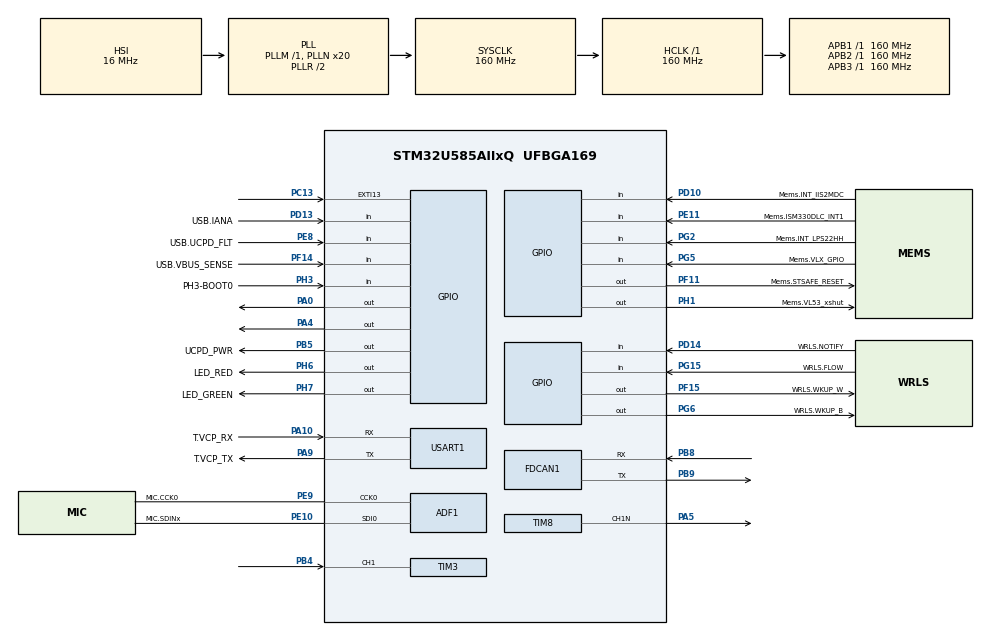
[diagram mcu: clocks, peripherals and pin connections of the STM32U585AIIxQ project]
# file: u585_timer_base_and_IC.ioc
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CORTEX_M33_NS.userName=CORTEX_M33
FDCAN1.CalculateBaudRateNominal=125000
FDCAN1.CalculateTimeBitNominal=8000
FDCAN1.CalculateTimeQuantumNominal=500.0
FDCAN1.DataPrescaler=4
FDCAN1.DataTimeSeg1=15
FDCAN1.DataTimeSeg2=4
FDCAN1.Mode=FDCAN_MODE_NORMAL
FDCAN1.NominalPrescaler=80
FDCAN1.NominalSyncJumpWidth=1
FDCAN1.NominalTimeSeg1=13
FDCAN1.NominalTimeSeg2=2
Mcu.Family=STM32U5
Mcu.Name=STM32U585AIIxQ
Mcu.Package=UFBGA169
NVIC.EXTI13_IRQn=true\:0\:0\:false\:false\:true\:true\:true\:true
NVIC.FDCAN1_IT0_IRQn=true\:0\:0\:false\:false\:true\:true\:true\:true
NVIC.FDCAN1_IT1_IRQn=true\:0\:0\:false\:false\:true\:true\:true\:true
NVIC.PriorityGroup=NVIC_PRIORITYGROUP_4
NVIC.TIM2_IRQn=true\:0\:0\:false\:false\:true\:true\:true\:true
NVIC.TIM3_IRQn=true\:0\:0\:false\:false\:true\:true\:true\:true
NVIC.TIM6_IRQn=true\:0\:0\:false\:false\:true\:true\:true\:true
PA0.Signal=GPIO_Output
PA10.GPIO_Label=T.VCP_RX
PA10.Mode=Asynchronous
PA10.Signal=USART1_RX
PA11.GPIO_Label=USB.C_P
PA11.Signal=USB_OTG_FS_DM
PA12.GPIO_Label=USB.C_P
PA12.Signal=USB_OTG_FS_DP
PA13\ (JTMS/SWDIO).GPIO_Label=T.SWDIO
PA13\ (JTMS/SWDIO).Mode=Trace_Asynchronous_SW
PA13\ (JTMS/SWDIO).Signal=DEBUG_JTMS-SWDIO
PA14\ (JTCK/SWCLK).GPIO_Label=T.SWCLK
PA14\ (JTCK/SWCLK).Mode=Trace_Asynchronous_SW
PA14\ (JTCK/SWCLK).Signal=DEBUG_JTCK-SWCLK
PA15\ (JTDI).GPIO_Label=USB.UCPD_CC1
PA15\ (JTDI).Signal=UCPD1_CC1
PA4.Signal=GPIO_Output
PA5.Mode=PWM Generation1 CH1N
PA5.Signal=TIM8_CH1N
PA9.GPIO_Label=T.VCP_TX
PA9.Mode=Asynchronous
PA9.Signal=USART1_TX
PB1.GPIO_Label=MIC.SDIN0
PB1.Signal=MDF1_SDI0
PB10.GPIO_Label=OCTOSPI.R_CLK_P
PB10.Signal=OCTOSPIM_P1_CLK
PB11.GPIO_Label=OCTOSPI.R_NCS
PB11.Signal=OCTOSPIM_P1_NCS
PB12.GPIO_Label=WRLS.SPI2_NSS
PB12.Signal=SPI2_NSS
PB15.GPIO_Label=USB.UCPD_CC2
PB15.Signal=UCPD1_CC2
PB3\ (JTDO/TRACESWO).GPIO_Label=T.SWO
PB3\ (JTDO/TRACESWO).Mode=Trace_Asynchronous_SW
PB3\ (JTDO/TRACESWO).Signal=DEBUG_JTDO-SWO
PB4\ (NJTRST).Signal=S_TIM3_CH1
PB5.GPIO_Label=UCPD_PWR
PB5.Signal=GPIO_Output
PB8.Mode=FDCAN_Activate
PB8.Signal=FDCAN1_RX
PB9.Mode=FDCAN_Activate
PB9.Signal=FDCAN1_TX
PC10.GPIO_Label=WRLS.UART4_TX
PC10.Signal=UART4_TX
PC11.GPIO_Label=WRLS.UART4_RX
PC11.Signal=UART4_RX
PC13.GPIO_ModeDefaultEXTI=GPIO_MODE_IT_FALLING
PC13.Signal=GPXTI13
PC14-OSC32_IN\ (PC14).GPIO_Label=PC14-OSC32_IN
PC14-OSC32_IN\ (PC14).Mode=LSE-External-Oscillator
PC14-OSC32_IN\ (PC14).Signal=RCC_OSC32_IN
PC15-OSC32_OUT\ (PC15).GPIO_Label=PC15-OSC32_OUT
PC15-OSC32_OUT\ (PC15).Mode=LSE-External-Oscillator
PC15-OSC32_OUT\ (PC15).Signal=RCC_OSC32_OUT
PC3.GPIO_Label=OCTOSPI.R_IO6
PC3.Signal=OCTOSPIM_P1_IO6
PD1.GPIO_Label=WRLS.SPI2_SCK
PD1.Signal=SPI2_SCK
PD10.GPIO_Label=Mems.INT_IIS2MDC
PD10.Signal=GPIO_Input
PD13.GPIO_Label=USB.IANA
PD13.Signal=GPIO_Input
PD14.GPIO_Label=WRLS.NOTIFY
PD14.Signal=GPIO_Input
PD3.GPIO_Label=WRLS.SPI2_MISO
PD3.Signal=SPI2_MISO
PD4.GPIO_Label=WRLS.SPI2_MOSI
PD4.Signal=SPI2_MOSI
PD7.GPIO_Label=OCTOSPI.R_IO7
PD7.Signal=OCTOSPIM_P1_IO7
PE10.GPIO_Label=MIC.SDINx
PE10.Mode=MOD_ADF_CCK
PE10.Signal=ADF1_SDI0
PE11.GPIO_Label=Mems.ISM330DLC_INT1
PE11.Signal=GPIO_Input
PE3.GPIO_Label=OCTOSPI.R_DQS
PE3.Signal=OCTOSPIM_P1_DQS
PE8.GPIO_Label=USB.UCPD_FLT
PE8.Signal=GPIO_Input
PE9.GPIO_Label=MIC.CCK0
PE9.Mode=MOD_MDF_CCK0
PE9.Signal=ADF1_CCK0
PF0.GPIO_Label=OCTOSPI.F_IO0
PF0.Signal=OCTOSPIM_P2_IO0
PF1.GPIO_Label=OCTOSPI.F_IO1
PF1.Signal=OCTOSPIM_P2_IO1
PF10.GPIO_Label=MIC.CCK1
PF10.Signal=MDF1_CCK1
PF11.GPIO_Label=Mems.STSAFE_RESET
PF11.Signal=GPIO_Output
PF12.GPIO_Label=OCTOSPI.F_DQS
PF12.Signal=OCTOSPIM_P2_DQS
PF14.GPIO_Label=USB.VBUS_SENSE
PF14.Signal=GPIO_Input
PF15.GPIO_Label=WRLS.WKUP_W
PF15.Signal=GPIO_Output
PF2.GPIO_Label=OCTOSPI.F_IO2
PF2.Signal=OCTOSPIM_P2_IO2
PF3.GPIO_Label=OCTOSPI.F_IO3
PF3.Signal=OCTOSPIM_P2_IO3
PF4.GPIO_Label=OCTOSPI.F_CLK_P
PF4.Signal=OCTOSPIM_P2_CLK
PF6.GPIO_Label=OCTOSPI.R_IO3
PF6.Signal=OCTOSPIM_P1_IO3
PF7.GPIO_Label=OCTOSPI.R_IO2
PF7.Signal=OCTOSPIM_P1_IO2
PF8.GPIO_Label=OCTOSPI.R_IO0
PF8.Signal=OCTOSPIM_P1_IO0
PF9.GPIO_Label=OCTOSPI.R_IO1
PF9.Signal=OCTOSPIM_P1_IO1
PG15.GPIO_Label=WRLS.FLOW
PG15.Signal=GPIO_Input
PG2.GPIO_Label=Mems.INT_LPS22HH
PG2.Signal=GPIO_Input
PG5.GPIO_Label=Mems.VLX_GPIO
PG5.Signal=GPIO_Input
PG6.GPIO_Label=WRLS.WKUP_B
PG6.Signal=GPIO_Output
PH1-OSC_OUT\ (PH1).GPIO_Label=Mems.VL53_xshut
PH1-OSC_OUT\ (PH1).Signal=GPIO_Output
PH10.GPIO_Label=OCTOSPI.F_IO5
PH10.Signal=OCTOSPIM_P2_IO5
PH11.GPIO_Label=OCTOSPI.F_IO6
PH11.Signal=OCTOSPIM_P2_IO6
PH12.GPIO_Label=OCTOSPI.F_IO7
PH12.Signal=OCTOSPIM_P2_IO7
PH2.GPIO_Label=OCTOSPI.R_IO4
PH2.Signal=OCTOSPIM_P1_IO4
PH3-BOOT0.GPIO_Label=PH3-BOOT0
PH3-BOOT0.Signal=GPIO_Input
PH4.Signal=I2C2_SCL
PH5.Signal=I2C2_SDA
PH6.GPIO_Label=LED_RED
PH6.Signal=GPIO_Output
PH7.GPIO_Label=LED_GREEN
PH7.Signal=GPIO_Output
PH9.GPIO_Label=OCTOSPI.F_IO4
PH9.Signal=OCTOSPIM_P2_IO4
PI0.GPIO_Label=OCTOSPI.R_IO5
PI0.Signal=OCTOSPIM_P1_IO5
PI5.GPIO_Label=OCTOSPI.F_NCS
PI5.Signal=OCTOSPIM_P2_NCS
PWR.PowerMode=PWR_SMPS_SUPPLY
ProjectManager.HeapSize=0x200
ProjectManager.StackSize=0x400
ProjectManager.TargetToolchain=STM32CubeIDE
RCC.ADCFreq_Value=16000000
RCC.AHBFreq_Value=160000000
RCC.APB1Freq_Value=160000000
RCC.APB1TimFreq_Value=160000000
RCC.APB2Freq_Value=160000000
RCC.APB2TimFreq_Value=160000000
RCC.APB3Freq_Value=160000000
RCC.CortexFreq_Value=160000000
RCC.DACCLockSelectionVirtual=RCC_DAC1CLKSOURCE_LSI
RCC.EPOD_VALUE=16000000
RCC.HCLKFreq_Value=160000000
RCC.HSE_VALUE=16000000
RCC.HSI48_VALUE=48000000
RCC.HSI_VALUE=16000000
RCC.LSIDIV_VALUE=32000
RCC.MSI_VALUE=4000000
RCC.PLL2M=2
RCC.PLL2Source=RCC_PLLSOURCE_HSI
RCC.PLL3M=2
RCC.PLL3Source=RCC_PLLSOURCE_HSI
RCC.PLLN=20
RCC.PLLSourceVirtual=RCC_PLLSOURCE_HSI
RCC.SYSCLKFreq_VALUE=160000000
RCC.SYSCLKSource=RCC_SYSCLKSOURCE_PLLCLK
RCC.USBFreq_Value=48000000
RCC.VCOOutputFreq_Value=320000000
SH.S_TIM3_CH1.0=TIM3_CH1,Input_Capture1_from_TI1
SH.S_TIM3_CH1.1=TIM3_CH1,TriggerSource_TI1FP1
TIM2.PeriodNoDither=9
TIM2.Prescaler=15999
TIM3.Channel-Input_Capture1_from_TI1=TIM_CHANNEL_1
TIM3.ICFilter_CH1=4
TIM3.ICPolarity_CH1=TIM_INPUTCHANNELPOLARITY_RISING
TIM3.Prescaler=159
TIM6.PeriodNoDither=15999
TIM6.Prescaler=1
TIM8.AutoReloadPreload=TIM_AUTORELOAD_PRELOAD_ENABLE
TIM8.Channel-PWM\ Generation1\ CH1N=TIM_CHANNEL_1
TIM8.PeriodNoDither=15999
TIM8.Prescaler=1
USART1.VirtualMode-Asynchronous=VM_ASYNC
VP_ICACHE_VS_ICACHE.Mode=DirectMappedCache
VP_LPBAMQUEUE_VS_QUEUE.Mode=QUEUEMODE
VP_LPBAM_VS_SIG1.Mode=SmartRun
VP_LPBAM_VS_SIG4.Mode=LPDMA1
VP_MEMORYMAP_VS_MEMORYMAP.Mode=CurAppReg
VP_PWR_VS_DBSignals.Mode=DisableDeadBatterySignals
VP_PWR_VS_LPOM.Mode=PowerOptimisation
VP_PWR_VS_SECSignals.Mode=Security/Privilege
VP_TIM2_VS_ClockSourceINT.Mode=Internal
VP_TIM3_VS_ControllerModeReset.Mode=Reset Mode
VP_TIM6_VS_ClockSourceINT.Mode=Enable_Timer
board=B-U585I-IOT02A

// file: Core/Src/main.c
/* USER CODE BEGIN Header */
/**
  ******************************************************************************
  * @file           : main.c
  * @brief          : Main program body
  ******************************************************************************
  * @attention
  *
  * Copyright (c) 2026 STMicroelectronics.
  * All rights reserved.
  *
  * This software is licensed under terms that can be found in the LICENSE file
  * in the root directory of this software component.
  * If no LICENSE file comes with this software, it is provided AS-IS.
  *
  ******************************************************************************
  */
/* USER CODE END Header */
#include "main.h"
#include "mdf.h"
#include "fdcan.h"
#include "icache.h"
#include "tim.h"
#include "usart.h"
#include "gpio.h"

/* USER CODE BEGIN Includes */
#include <stdio.h>
/* USER CODE END Includes */

void SystemClock_Config(void);
static void SystemPower_Config(void);

/* USER CODE BEGIN 0 */

int __io_putchar(int ch)
{
    /* Support printf over UART */
    (void)HAL_UART_Transmit(&huart1, (uint8_t*)&ch, 1, 0xFFFFU);
    return ch;
}

void HAL_TIM_PeriodElapsedCallback(TIM_HandleTypeDef *htim)
{
  /* USER CODE BEGIN Callback 0 */

  /* USER CODE END Callback 0 */
  if (htim->Instance == TIM17)
  {
    HAL_IncTick();
  }
  /* USER CODE BEGIN Callback 1 */
  else if (htim->Instance == TIM6)
  {
    HAL_GPIO_TogglePin(GPIOA, GPIO_PIN_4);
  }

  /* USER CODE END Callback 1 */
}

volatile uint32_t ic_period_us   = 0;
volatile float    ic_freq_hz     = 0.0f;
volatile uint8_t  ic_valid       = 0;

void HAL_TIM_IC_CaptureCallback(TIM_HandleTypeDef *htim)
{
	if (htim->Instance != TIM3)                      return;
	if (htim->Channel  != HAL_TIM_ACTIVE_CHANNEL_1)  return;

	uint32_t period = HAL_TIM_ReadCapturedValue(htim, TIM_CHANNEL_1);
	ic_period_us = period;
	ic_valid     = 1;
}

/* USER CODE END 0 */

int main(void)
{

  /* MCU Configuration--------------------------------------------------------*/

  /* Reset of all peripherals, Initializes the Flash interface and the Systick. */
  HAL_Init();

  /* Configure the System Power */
  SystemPower_Config();

  /* Configure the system clock */
  SystemClock_Config();

  /* Initialize all configured peripherals */
  MX_GPIO_Init();
  MX_ADF1_Init();
  MX_FDCAN1_Init();
  MX_ICACHE_Init();
  MX_USART1_UART_Init();
  MX_TIM2_Init();
  MX_TIM6_Init();
  MX_TIM8_Init();
  MX_TIM3_Init();

  /* Infinite loop */
  /* USER CODE BEGIN WHILE */

  uint32_t pclk1 = HAL_RCC_GetPCLK1Freq();
  uint32_t htim3_prescaler = htim3.Init.Prescaler;
  double htim3_freq_hz = (double)pclk1/(double)(htim3_prescaler + 1);

  HAL_TIM_Base_Start_IT(&htim6);
  //HAL_TIMEx_PWMN_Start(&htim8, TIM_CHANNEL_1);
  HAL_TIM_IC_Start_IT(&htim3, TIM_CHANNEL_1);
  while (1)
  {
	  HAL_Delay(500);

	  __disable_irq();
	  uint32_t  snap_period = ic_period_us;
	  uint8_t   snap_valid  = ic_valid;
	  __enable_irq();

	  if (snap_valid)
	  {
		  printf("tim6 frequency = %fHZ\r\n", (float)htim3_freq_hz/snap_period);
	  }
    /* USER CODE END WHILE */

  }
}

void SystemClock_Config(void)
{
  RCC_OscInitTypeDef RCC_OscInitStruct = {0};
  RCC_ClkInitTypeDef RCC_ClkInitStruct = {0};

  /** Configure the main internal regulator output voltage
  */
  if (HAL_PWREx_ControlVoltageScaling(PWR_REGULATOR_VOLTAGE_SCALE1) != HAL_OK)
  {
    Error_Handler();
  }

  /** Initializes the CPU, AHB and APB buses clocks
  */
  RCC_OscInitStruct.OscillatorType = RCC_OSCILLATORTYPE_HSI;
  RCC_OscInitStruct.HSIState = RCC_HSI_ON;
  RCC_OscInitStruct.HSICalibrationValue = RCC_HSICALIBRATION_DEFAULT;
  RCC_OscInitStruct.PLL.PLLState = RCC_PLL_ON;
  RCC_OscInitStruct.PLL.PLLSource = RCC_PLLSOURCE_HSI;
  RCC_OscInitStruct.PLL.PLLMBOOST = RCC_PLLMBOOST_DIV1;
  RCC_OscInitStruct.PLL.PLLM = 1;
  RCC_OscInitStruct.PLL.PLLN = 20;
  RCC_OscInitStruct.PLL.PLLP = 2;
  RCC_OscInitStruct.PLL.PLLQ = 2;
  RCC_OscInitStruct.PLL.PLLR = 2;
  RCC_OscInitStruct.PLL.PLLRGE = RCC_PLLVCIRANGE_1;
  RCC_OscInitStruct.PLL.PLLFRACN = 0;
  if (HAL_RCC_OscConfig(&RCC_OscInitStruct) != HAL_OK)
  {
    Error_Handler();
  }

  /** Initializes the CPU, AHB and APB buses clocks
  */
  RCC_ClkInitStruct.ClockType = RCC_CLOCKTYPE_HCLK|RCC_CLOCKTYPE_SYSCLK
                              |RCC_CLOCKTYPE_PCLK1|RCC_CLOCKTYPE_PCLK2
                              |RCC_CLOCKTYPE_PCLK3;
  RCC_ClkInitStruct.SYSCLKSource = RCC_SYSCLKSOURCE_PLLCLK;
  RCC_ClkInitStruct.AHBCLKDivider = RCC_SYSCLK_DIV1;
  RCC_ClkInitStruct.APB1CLKDivider = RCC_HCLK_DIV1;
  RCC_ClkInitStruct.APB2CLKDivider = RCC_HCLK_DIV1;
  RCC_ClkInitStruct.APB3CLKDivider = RCC_HCLK_DIV1;

  if (HAL_RCC_ClockConfig(&RCC_ClkInitStruct, FLASH_LATENCY_4) != HAL_OK)
  {
    Error_Handler();
  }
}

/**
  * @brief Power Configuration
  * @retval None
  */
static void SystemPower_Config(void)
{
  HAL_PWREx_EnableVddIO2();

  /*
   * Disable the internal Pull-Up in Dead Battery pins of UCPD peripheral
   */
  HAL_PWREx_DisableUCPDDeadBattery();

  /*
   * Switch to SMPS regulator instead of LDO
   */
  if (HAL_PWREx_ConfigSupply(PWR_SMPS_SUPPLY) != HAL_OK)
  {
    Error_Handler();
  }
}

void Error_Handler(void)
{
  __disable_irq();
  while (1)
  {
  }
}
